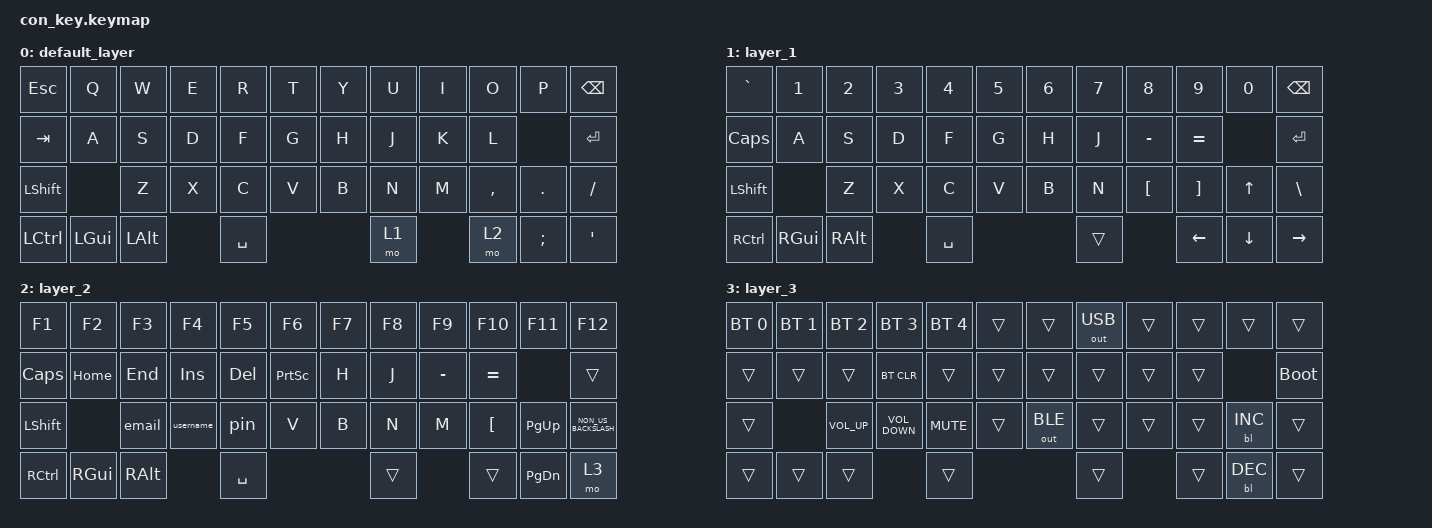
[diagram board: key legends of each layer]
#include <behaviors.dtsi>
#include <dt-bindings/zmk/backlight.h>
#include <dt-bindings/zmk/bt.h>
#include <dt-bindings/zmk/keys.h>
#include <dt-bindings/zmk/outputs.h>

/ {
    macros {
        email: screen_cut {
            compatible = "zmk,behavior-macro";
            #binding-cells = <0>;
            bindings = <&kp L &kp U &kp O &kp N &kp G &kp M &kp I &kp N &kp H &kp T &kp A &kp N &kp N8 &kp N7 &kp N8 &kp N9 &kp AT &kp G &kp M &kp A &kp I &kp L &kp DOT &kp C &kp O &kp M>;
            label = "SCREEN_CUT";
        };

        username: username {
            compatible = "zmk,behavior-macro";
            #binding-cells = <0>;
            bindings = <&kp T &kp A &kp N &kp S &kp I &kp E &kp U &kp C &kp U &kp T &kp O>;
            label = "USERNAME";
        };

        sdt: sdt {
            compatible = "zmk,behavior-macro";
            #binding-cells = <0>;
            bindings = <&none &kp N0 &kp N8 &kp N3 &kp N4 &kp N1 &kp N1 &kp N9 &kp N2 &kp N7 &kp N2>;
            label = "SDT";
        };

        pin: pin {
            compatible = "zmk,behavior-macro";
            #binding-cells = <0>;
            bindings = <&none &kp N2 &kp N8 &kp N0 &kp N9 &kp N2 &kp N0 &kp N0 &kp N4 &kp RET>;
            label = "PIN";
        };
    };

    keymap {
        compatible = "zmk,keymap";

        default_layer {
            bindings = <
&kp ESC         &kp Q     &kp W     &kp E  &kp R      &kp T  &kp Y  &kp U  &kp I  &kp O      &kp P          &kp BSPC
&kp TAB         &kp A     &kp S     &kp D  &kp F      &kp G  &kp H  &kp J  &kp K  &kp L                     &kp RET
&kp LEFT_SHIFT            &kp Z     &kp X  &kp C      &kp V  &kp B  &kp N  &kp M  &kp COMMA  &kp DOT        &kp SLASH
&kp LCTRL       &kp LGUI  &kp LALT         &kp SPACE                &mo 1         &mo 2      &kp SEMICOLON  &kp SQT
            >;
        };

        layer_1 {
            bindings = <
&kp GRAVE          &kp NUMBER_1  &kp NUMBER_2  &kp NUMBER_3  &kp NUMBER_4  &kp N5  &kp NUMBER_6  &kp NUMBER_7  &kp NUMBER_8      &kp NUMBER_9       &kp NUMBER_0    &kp BACKSPACE
&kp CLCK           &kp A         &kp S         &kp D         &kp F         &kp G   &kp H         &kp J         &kp MINUS         &kp EQUAL                          &kp ENTER
&kp LSHFT                        &kp Z         &kp X         &kp C         &kp V   &kp B         &kp N         &kp LEFT_BRACKET  &kp RIGHT_BRACKET  &kp UP_ARROW    &kp BACKSLASH
&kp RIGHT_CONTROL  &kp RGUI      &kp RALT                    &kp SPACE                           &trans                          &kp LEFT_ARROW     &kp DOWN_ARROW  &kp RIGHT
            >;
        };

        layer_2 {
            bindings = <
&kp F1             &kp F2    &kp F3    &kp F4      &kp F5     &kp F6           &kp F7  &kp F8  &kp F9     &kp F10           &kp F11        &kp F12
&kp CAPS           &kp HOME  &kp END   &kp INSERT  &kp DEL    &kp PRINTSCREEN  &kp H   &kp J   &kp MINUS  &kp EQUAL                        &trans
&kp LSHFT                    &email    &username   &pin       &kp V            &kp B   &kp N   &kp M      &kp LEFT_BRACKET  &kp PG_UP      &kp NON_US_BACKSLASH
&kp RIGHT_CONTROL  &kp RGUI  &kp RALT              &kp SPACE                           &trans             &trans            &kp PAGE_DOWN  &mo 3
            >;
        };

        layer_3 {
            bindings = <
&bt BT_SEL 0  &bt BT_SEL 1  &bt BT_SEL 2     &bt BT_SEL 3       &bt BT_SEL 4  &trans  &trans        &out OUT_USB  &trans  &trans  &trans      &trans
&trans        &trans        &trans           &bt BT_CLR         &trans        &trans  &trans        &trans        &trans  &trans              &bootloader
&trans                      &kp C_VOLUME_UP  &kp C_VOLUME_DOWN  &kp C_MUTE    &trans  &out OUT_BLE  &trans        &trans  &trans  &bl BL_INC  &trans
&trans        &trans        &trans                              &trans                              &trans                &trans  &bl BL_DEC  &trans
            >;
        };
    };
};
